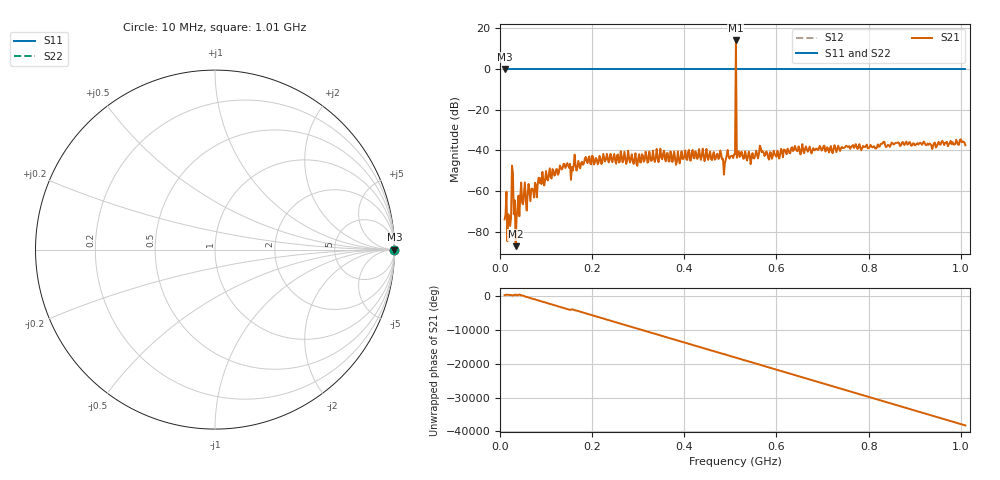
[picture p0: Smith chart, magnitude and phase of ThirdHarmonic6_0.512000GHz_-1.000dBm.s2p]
! 8/15/2025 3:38:00 PM
! C:\ANRITSUVNA\TEMP\TEMP.S2P
! CHANNEL.1
! TR.MEASUREMENT
! RAW.DATA
! RF.CORRECTION.OFF
! AVERAGING.OFF
! IF.BANDWIDTH: 5KHZ
! SWEEPTYPE:  FREQ.SWEEP(Linear)
! Reference Plane Port Info
! PORT:  PORT1  PORT2
! DISTANCE:  0  m  0  m
! TIME:  0  s  0  s
! PHASE.OFFSET:  0  deg.  0  deg.
! LOSS:  0  dB  0  dB
! REF.LOSS:  0  dB  0  dB
! REF.FREQ:  0  Hz  0  Hz
! Power Info
! POWER:  -20  dBm  -20  dBm
! EFF.POWER:  -20  dBm  -20  dBm
! SOURCE.ATTEN:  0  dB  0  dB
! TEST.ATTEN:  0  dB  0  dB
# GHZ S RI R 50.0
! FREQ.GHZ  S11RE  S11IM  S21RE  S21IM  S12RE  S12IM  S22RE  S22IM
!; PortSelection: Port_12
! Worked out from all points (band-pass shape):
!   501 points, 10 MHz to 1.01 GHz, reference 50 ohm
!   highest |S21| = 14.02 dB at 512 MHz (marker M1); lowest = -87.0 dB at 34 MHz (marker M2)
!   |S21| within 3 dB of the highest: 511.8926 MHz to 512.1042 MHz (211.6 kHz wide, 0.0413 % of centre)
!   lowest |S11| = 0.0 dB at 10 MHz (marker M3)
!   |S11| at or under -10 dB: nowhere
!   |S22| runs from 0.0 to 0.0 dB; largest |S21 - S12| = 5.8
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0.01  1 0  -0.0002 3.07e-05  1 0  1 0
0.02  1 0  -7.41e-05 -0.000222  1 0  1 0
0.024  1 0  -0.000179 -0.000136  1 0  1 0
0.028  1 0  0.00104 0.00264  1 0  1 0
0.034  1 0  4.45e-05 -4.6e-06  1 0  1 0
0.05  1 0  0.000368 0.000306  1 0  1 0
0.062  1 0  -0.00147 -0.000332  1 0  1 0
0.088  1 0  -0.00103 -0.00181  1 0  1 0
0.142  1 0  -0.00317 -0.00194  1 0  1 0
0.178  1 0  -0.00509 -0.00128  1 0  1 0
0.344  1 0  0.00516 0.00013  1 0  1 0
0.476  1 0  -0.00319 0.00577  1 0  1 0
0.486  1 0  0.00213 0.00141  1 0  1 0
0.506  1 0  0.00632 -0.00146  1 0  1 0
0.508  1 0  0.00161 -0.00791  1 0  1 0
0.51  1 0  -0.00781 0.00206  1 0  1 0
0.512  1 0  -3.559 3.542  1 0  1 0
0.516  1 0  0.00667 -0.00626  1 0  1 0
0.518  1 0  -0.00786 -0.00542  1 0  1 0
0.678  1 0  0.00609 -0.00804  1 0  1 0
0.844  1 0  -0.00486 0.0125  1 0  1 0
1.01  1 0  0.00346 -0.0129  1 0  1 0
